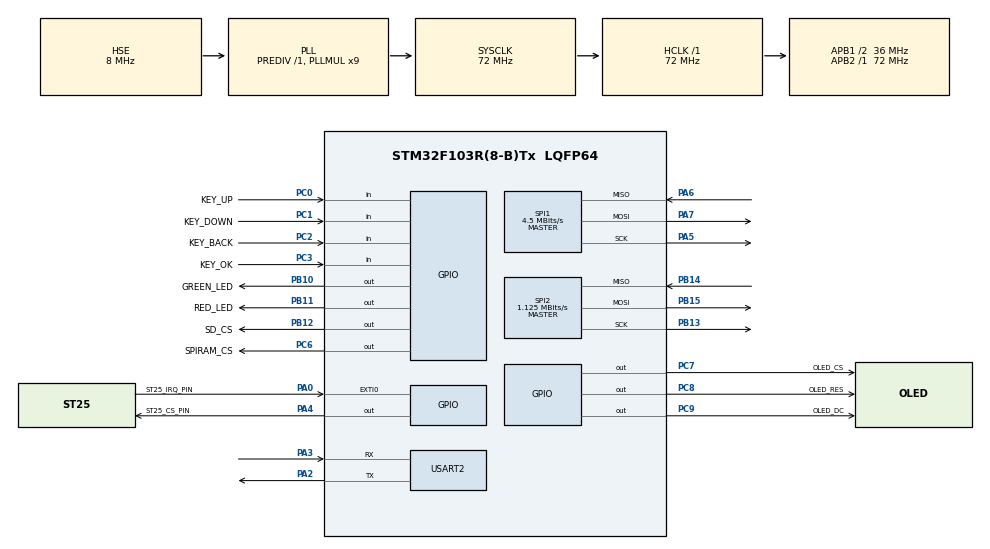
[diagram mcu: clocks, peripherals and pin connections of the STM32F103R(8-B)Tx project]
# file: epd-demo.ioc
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FATFS._CODE_PAGE=1252
FATFS._MAX_SS=512
FATFS._MIN_SS=512
FATFS._USE_LFN=1
Mcu.Family=STM32F1
Mcu.Name=STM32F103R(8-B)Tx
Mcu.Package=LQFP64
NVIC.EXTI0_IRQn=true\:0\:0\:false\:false\:true\:true\:true
NVIC.PriorityGroup=NVIC_PRIORITYGROUP_4
NVIC.TIM3_IRQn=true\:0\:0\:false\:false\:true\:true\:true
PA0-WKUP.GPIO_Label=ST25_IRQ_PIN
PA0-WKUP.Signal=GPXTI0
PA13.Mode=Serial_Wire
PA13.Signal=SYS_JTMS-SWDIO
PA14.Mode=Serial_Wire
PA14.Signal=SYS_JTCK-SWCLK
PA2.Mode=Asynchronous
PA2.Signal=USART2_TX
PA3.Mode=Asynchronous
PA3.Signal=USART2_RX
PA4.GPIO_Label=ST25_CS_PIN
PA4.GPIO_PuPd=GPIO_PULLUP
PA4.GPIO_Speed=GPIO_SPEED_FREQ_HIGH
PA4.Signal=GPIO_Output
PA5.Mode=Full_Duplex_Master
PA5.Signal=SPI1_SCK
PA6.Mode=Full_Duplex_Master
PA6.Signal=SPI1_MISO
PA7.Mode=Full_Duplex_Master
PA7.Signal=SPI1_MOSI
PB10.GPIO_Label=GREEN_LED
PB10.GPIO_PuPd=GPIO_PULLDOWN
PB10.PinState=GPIO_PIN_RESET
PB10.Signal=GPIO_Output
PB11.GPIO_Label=RED_LED
PB11.GPIO_PuPd=GPIO_PULLDOWN
PB11.Signal=GPIO_Output
PB12.GPIO_Label=SD_CS
PB12.GPIO_PuPd=GPIO_PULLUP
PB12.GPIO_Speed=GPIO_SPEED_FREQ_HIGH
PB12.PinState=GPIO_PIN_SET
PB12.Signal=GPIO_Output
PB13.Mode=Full_Duplex_Master
PB13.Signal=SPI2_SCK
PB14.Mode=Full_Duplex_Master
PB14.Signal=SPI2_MISO
PB15.Mode=Full_Duplex_Master
PB15.Signal=SPI2_MOSI
PC0.GPIO_Label=KEY_UP
PC0.GPIO_PuPd=GPIO_PULLUP
PC0.Signal=GPIO_Input
PC1.GPIO_Label=KEY_DOWN
PC1.GPIO_PuPd=GPIO_PULLUP
PC1.Signal=GPIO_Input
PC2.GPIO_Label=KEY_BACK
PC2.GPIO_PuPd=GPIO_PULLUP
PC2.Signal=GPIO_Input
PC3.GPIO_Label=KEY_OK
PC3.GPIO_PuPd=GPIO_PULLUP
PC3.Signal=GPIO_Input
PC6.GPIO_Label=SPIRAM_CS
PC6.GPIO_PuPd=GPIO_PULLUP
PC6.GPIO_Speed=GPIO_SPEED_FREQ_HIGH
PC6.PinState=GPIO_PIN_SET
PC6.Signal=GPIO_Output
PC7.GPIO_Label=OLED_CS
PC7.GPIO_PuPd=GPIO_PULLUP
PC7.GPIO_Speed=GPIO_SPEED_FREQ_HIGH
PC7.PinState=GPIO_PIN_SET
PC7.Signal=GPIO_Output
PC8.GPIO_Label=OLED_RES
PC8.GPIO_PuPd=GPIO_PULLUP
PC8.GPIO_Speed=GPIO_SPEED_FREQ_LOW
PC8.PinState=GPIO_PIN_RESET
PC8.Signal=GPIO_Output
PC9.GPIO_Label=OLED_DC
PC9.GPIO_Speed=GPIO_SPEED_FREQ_HIGH
PC9.PinState=GPIO_PIN_RESET
PC9.Signal=GPIO_Output
PD0-OSC_IN.Mode=HSE-External-Oscillator
PD0-OSC_IN.Signal=RCC_OSC_IN
PD1-OSC_OUT.Mode=HSE-External-Oscillator
PD1-OSC_OUT.Signal=RCC_OSC_OUT
ProjectManager.HeapSize=0x400
ProjectManager.StackSize=0x800
ProjectManager.TargetToolchain=MDK-ARM V5
RCC.AHBFreq_Value=72000000
RCC.APB1CLKDivider=RCC_HCLK_DIV2
RCC.APB1Freq_Value=36000000
RCC.APB1TimFreq_Value=72000000
RCC.APB2Freq_Value=72000000
RCC.APB2TimFreq_Value=72000000
RCC.HCLKFreq_Value=72000000
RCC.PLLMUL=RCC_PLL_MUL9
RCC.PLLSourceVirtual=RCC_PLLSOURCE_HSE
RCC.SYSCLKFreq_VALUE=72000000
RCC.SYSCLKSource=RCC_SYSCLKSOURCE_PLLCLK
RCC.USBFreq_Value=72000000
SPI1.BaudRatePrescaler=SPI_BAUDRATEPRESCALER_16
SPI1.CLKPhase=SPI_PHASE_2EDGE
SPI1.CalculateBaudRate=4.5 MBits/s
SPI1.Direction=SPI_DIRECTION_2LINES
SPI1.Mode=SPI_MODE_MASTER
SPI1.VirtualType=VM_MASTER
SPI2.BaudRatePrescaler=SPI_BAUDRATEPRESCALER_32
SPI2.CalculateBaudRate=1.125 MBits/s
SPI2.Direction=SPI_DIRECTION_2LINES
SPI2.Mode=SPI_MODE_MASTER
SPI2.VirtualType=VM_MASTER
TIM3.AutoReloadPreload=TIM_AUTORELOAD_PRELOAD_ENABLE
TIM3.Period=3999
TIM3.Prescaler=7199
USART2.VirtualMode=VM_ASYNC
VP_FATFS_VS_Generic.Mode=User_defined
VP_TIM3_VS_ClockSourceINT.Mode=Internal
board=epd1in54

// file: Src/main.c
/* USER CODE BEGIN Header */
/**
  ******************************************************************************
  * @file           : main.c
  * @brief          : Main program body
  ******************************************************************************
  * @attention
  *
  * <h2><center>&copy; Copyright (c) 2019 STMicroelectronics.
  * All rights reserved.</center></h2>
  *
  * This software component is licensed by ST under Ultimate Liberty license
  * SLA0044, the "License"; You may not use this file except in compliance with
  * the License. You may obtain a copy of the License at:
  *                             www.st.com/SLA0044
  *
  ******************************************************************************
  */
/* USER CODE END Header */

#include "main.h"
#include "fatfs.h"
#include "spi.h"
#include "tim.h"
#include "usart.h"
#include "gpio.h"

/* USER CODE BEGIN Includes */
#include "SD_Card_APP.h"
#include "SSD1306.h"
#include "Fonts.h"
#include "Browser.h"
#include "logger.h"
#include "st_errno.h"
#include "rfal_rf.h"
#include "rfal_analogConfig.h"
/* USER CODE END Includes */

/* USER CODE BEGIN PV */
/* Private variables ---------------------------------------------------------*/

/* USER CODE END PV */

void SystemClock_Config(void);
/* USER CODE BEGIN PFP */
/* Private function prototypes -----------------------------------------------*/

/* USER CODE END PFP */

/* USER CODE BEGIN 0 */
	extern char filename[20][20];
	extern uint8_t file_num;
/* USER CODE END 0 */

int main(void)
{

  /* MCU Configuration--------------------------------------------------------*/

  /* Reset of all peripherals, Initializes the Flash interface and the Systick. */
  HAL_Init();

  /* Configure the system clock */
  SystemClock_Config();

  /* Initialize all configured peripherals */
  MX_GPIO_Init();
  MX_USART2_UART_Init();
  MX_FATFS_Init();
  MX_SPI2_Init();
  MX_SPI1_Init();
  MX_TIM3_Init();
  /* USER CODE BEGIN 2 */
	SpiInit(&hspi1);
	printf("Hello\r\n");
	/* Initalize RFAL */
  rfalAnalogConfigInitialize();
	/* Initalize OLED */
	ssd1306_init();
	/* Initalize SD Card */
	while(1)
	{
		if(!SDCard_Init())
		{	LED_RED_1;
			ssd1306_display_string(26, 16,"SD Card Error!", 12, 1);
			ssd1306_display_string(0,28,"Please press any key to try again.", 12, 1);
			ssd1306_refresh_gram();
		}
		else
		{	LED_RED_0;
			break;
		}
		while(!ReadKey());
	}

	if( rfalInitialize() != ERR_NONE )
  {
    /*
    * in case the rfal initalization failed signal it by flashing all LED
    * and stoping all operations
    */
    printf("RFAL initialization failed..\r\n");
    while(1)
    {
      DEV_Delay_ms(100);
    }
  }
  else
  {
    printf("RFAL initialization succeeded..\r\n");
      DEV_Delay_ms(200);

  }
	/**************Save file name ,return file number**************/
	file_num = Browser_save_fileame("0:");
  /* USER CODE END 2 */

  /* Infinite loop */
  /* USER CODE BEGIN WHILE */
    while (1) {
		/* Run RFAL Worker */
			rfalWorker();
		/* OLED Display*/
			Browser_display();
    /* USER CODE END WHILE */

    }
}

void SystemClock_Config(void)
{
  RCC_OscInitTypeDef RCC_OscInitStruct = {0};
  RCC_ClkInitTypeDef RCC_ClkInitStruct = {0};

  /** Initializes the CPU, AHB and APB busses clocks
  */
  RCC_OscInitStruct.OscillatorType = RCC_OSCILLATORTYPE_HSE;
  RCC_OscInitStruct.HSEState = RCC_HSE_ON;
  RCC_OscInitStruct.HSEPredivValue = RCC_HSE_PREDIV_DIV1;
  RCC_OscInitStruct.HSIState = RCC_HSI_ON;
  RCC_OscInitStruct.PLL.PLLState = RCC_PLL_ON;
  RCC_OscInitStruct.PLL.PLLSource = RCC_PLLSOURCE_HSE;
  RCC_OscInitStruct.PLL.PLLMUL = RCC_PLL_MUL9;
  if (HAL_RCC_OscConfig(&RCC_OscInitStruct) != HAL_OK)
  {
    Error_Handler();
  }
  /** Initializes the CPU, AHB and APB busses clocks
  */
  RCC_ClkInitStruct.ClockType = RCC_CLOCKTYPE_HCLK|RCC_CLOCKTYPE_SYSCLK
                              |RCC_CLOCKTYPE_PCLK1|RCC_CLOCKTYPE_PCLK2;
  RCC_ClkInitStruct.SYSCLKSource = RCC_SYSCLKSOURCE_PLLCLK;
  RCC_ClkInitStruct.AHBCLKDivider = RCC_SYSCLK_DIV1;
  RCC_ClkInitStruct.APB1CLKDivider = RCC_HCLK_DIV2;
  RCC_ClkInitStruct.APB2CLKDivider = RCC_HCLK_DIV1;

  if (HAL_RCC_ClockConfig(&RCC_ClkInitStruct, FLASH_LATENCY_2) != HAL_OK)
  {
    Error_Handler();
  }
}

void Error_Handler(void)
{
    while(1) {
    }
}

/************************ (C) COPYRIGHT STMicroelectronics *****END OF FILE****/
